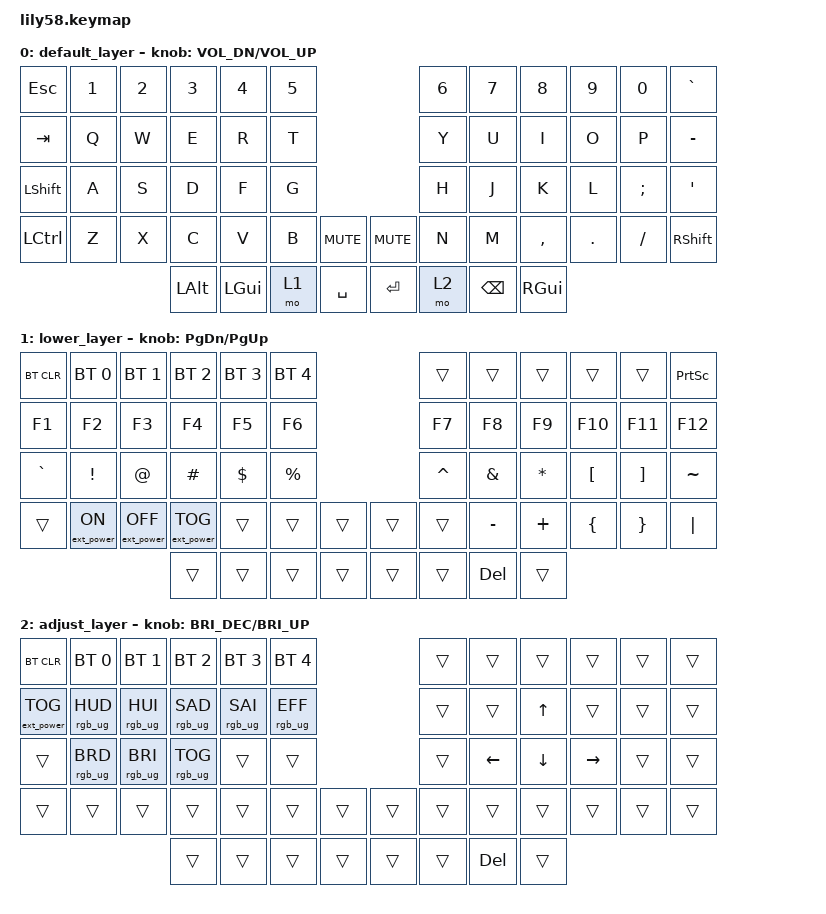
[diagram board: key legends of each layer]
/*
 * Copyright (c) 2020 The ZMK Contributors
 *
 * SPDX-License-Identifier: MIT
 */

#include <behaviors.dtsi>
#include <dt-bindings/zmk/bt.h>
#include <dt-bindings/zmk/ext_power.h>
#include <dt-bindings/zmk/keys.h>
#include <dt-bindings/zmk/rgb.h>

/ {
    // Activate ADJUST layer by pressing raise and lower

    conditional_layers {
        compatible = "zmk,conditional-layers";

        adjust_layer {
            if-layers = <1 2>;
            then-layer = <3>;
        };
    };

    keymap {
        compatible = "zmk,keymap";

        default_layer {
            // ------------------------------------------------------------------------------------------------------------
            // |  ESC  |  1  |  2  |  3   |  4   |  5   |                   |  6   |  7    |  8    |  9   |   0   |   `   |
            // |  TAB  |  Q  |  W  |  E   |  R   |  T   |                   |  Y   |  U    |  I    |  O   |   P   |   -   |
            // | SHIFT |  A  |  S  |  D   |  F   |  G   |                   |  H   |  J    |  K    |  L   |   ;   |   '   |
            // | LCTRL |  Z  |  X  |  C   |  V   |  B   |  MUTE  |  | MUTE  |  N   |  M    |  ,    |  .   |   /   | SHIFT |
            //                     | ALT  | GUI  | LOWER|  SPACE |  | ENTER | RAISE| BSPC  | GUI   |

            bindings = <
&kp ESC     &kp N1  &kp N2  &kp N3    &kp N4    &kp N5                            &kp N6  &kp N7    &kp N8     &kp N9   &kp N0    &kp GRAVE
&kp TAB     &kp Q   &kp W   &kp E     &kp R     &kp T                             &kp Y   &kp U     &kp I      &kp O    &kp P     &kp MINUS
&kp LSHIFT  &kp A   &kp S   &kp D     &kp F     &kp G                             &kp H   &kp J     &kp K      &kp L    &kp SEMI  &kp SQT
&kp LCTRL   &kp Z   &kp X   &kp C     &kp V     &kp B   &kp C_MUTE    &kp C_MUTE  &kp N   &kp M     &kp COMMA  &kp DOT  &kp FSLH  &kp RSHFT
                            &kp LALT  &kp LGUI  &mo 1   &kp SPACE     &kp RET     &mo 2   &kp BSPC  &kp RGUI
            >;

            sensor-bindings = <&inc_dec_kp C_VOL_DN C_VOL_UP>;
        };

        lower_layer {
            // ------------------------------------------------------------------------------------------------------------
            // | BTCLR | BT1 | BT2 |  BT3 |  BT4 |  BT5 |                   |      |       |       |      |       |PRTSCRN|
            // |  F1   |  F2 |  F3 |  F4  |  F5  |  F6  |                   |  F7  |  F8   |  F9   |  F10 |  F11  |  F12  |
            // |   `   |  !  |  @  |  #   |  $   |  %   |                   |  ^   |  &    |  *    |  (   |   )   |   ~   |
            // |EXTPWR |     |     |      |      |      |        |  |       |      |  _    |  +    |  {   |   }   |  "|"  |
            //                     |      |      |      |        |  |       |      |  DEL  |       |

            bindings = <
&bt BT_CLR  &bt BT_SEL 0      &bt BT_SEL 1       &bt BT_SEL 2       &bt BT_SEL 3  &bt BT_SEL 4                    &trans     &trans      &trans     &trans            &trans             &kp PRINTSCREEN
&kp F1      &kp F2            &kp F3             &kp F4             &kp F5        &kp F6                          &kp F7     &kp F8      &kp F9     &kp F10           &kp F11            &kp F12
&kp GRAVE   &kp EXCL          &kp AT             &kp HASH           &kp DOLLAR    &kp PRCNT                       &kp CARET  &kp AMPS    &kp ASTRK  &kp LEFT_BRACKET  &kp RIGHT_BRACKET  &kp TILDE
&trans      &ext_power EP_ON  &ext_power EP_OFF  &ext_power EP_TOG  &trans        &trans        &trans    &trans  &trans     &kp MINUS   &kp PLUS   &kp LBRC          &kp RBRC           &kp PIPE
                                                 &trans             &trans        &trans        &trans    &trans  &trans     &kp DELETE  &trans
            >;

            sensor-bindings = <&inc_dec_kp PAGE_DOWN PAGE_UP>;
        };

        adjust_layer {
            // ----------------------------------------------------------------------------------------------------------------------------
            // | BTCLR  |  BT1    |  BT2    |   BT3   |   BT4   |   BT5   |                  |      |      |       |      |       |       |
            // | EXTPWR | RGB_HUD | RGB_HUI | RGB_SAD | RGB_SAI | RGB_EFF |                  |      |      |  UP   |      |       |       |
            // |        | RGB_BRD | RGB_BRI | RGB_TOG |         |         |                  |      | LEFT |  DOWN | RIGHT|       |       |
            // |        |         |         |         |         |         | RGB_TOG | |      |      |      |       |      |       |       |
            //                    |         |         |         |         |         | |      |      |      |       |      |

            bindings = <
&bt BT_CLR         &bt BT_SEL 0     &bt BT_SEL 1     &bt BT_SEL 2     &bt BT_SEL 3     &bt BT_SEL 4                       &trans  &trans          &trans          &trans           &trans  &trans
&ext_power EP_TOG  &rgb_ug RGB_HUD  &rgb_ug RGB_HUI  &rgb_ug RGB_SAD  &rgb_ug RGB_SAI  &rgb_ug RGB_EFF                    &trans  &trans          &kp UP_ARROW    &trans           &trans  &trans
&trans             &rgb_ug RGB_BRD  &rgb_ug RGB_BRI  &rgb_ug RGB_TOG  &trans           &trans                             &trans  &kp LEFT_ARROW  &kp DOWN_ARROW  &kp RIGHT_ARROW  &trans  &trans
&trans             &trans           &trans           &trans           &trans           &trans           &trans    &trans  &trans  &trans          &trans          &trans           &trans  &trans
                                                     &trans           &trans           &trans           &trans    &trans  &trans  &kp DELETE      &trans
            >;

            sensor-bindings = <&inc_dec_kp C_BRI_DEC C_BRI_UP>;
        };

        extra1 { status = "reserved"; };

        extra2 { status = "reserved"; };

        extra3 { status = "reserved"; };

        extra4 { status = "reserved"; };

        extra5 { status = "reserved"; };
    };
};
